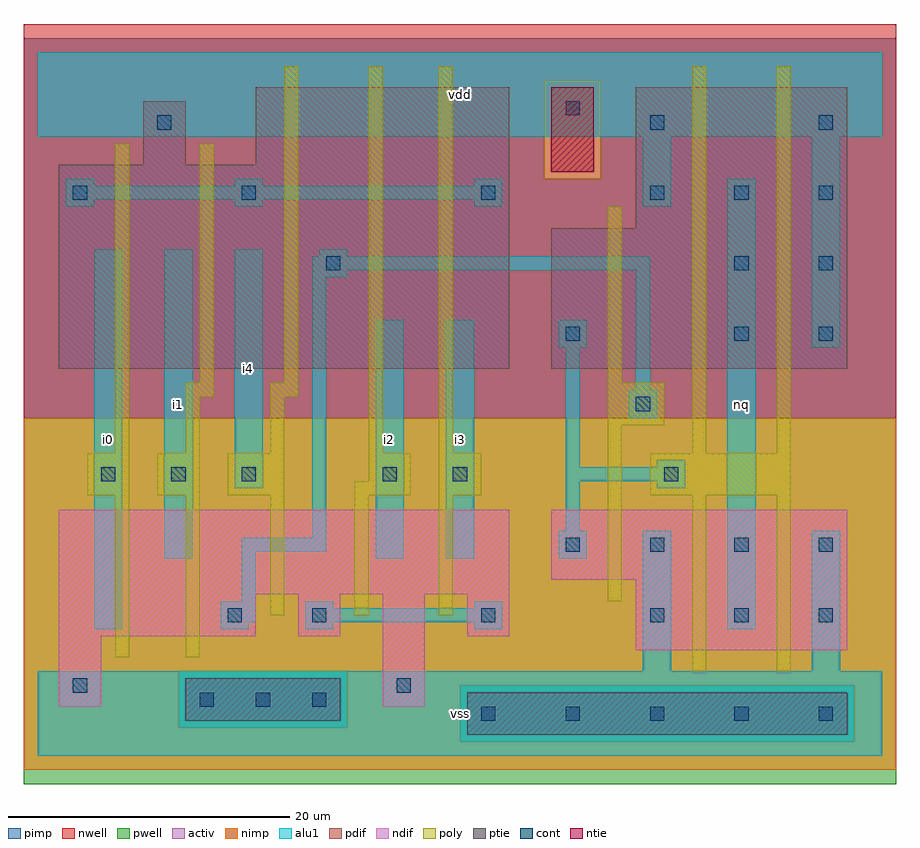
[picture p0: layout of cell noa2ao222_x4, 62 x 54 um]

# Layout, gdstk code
import gdstk
lib = gdstk.Library(unit=1e-6, precision=1e-09)
def R(c, l, rs):  # rectangles x0, y0, x1, y1
    for r in rs: c.add(gdstk.rectangle(r[:2], r[2:], *l))
def A(c, l, x, y, w, h, nx, ny, dx, dy):  # array of equal rectangles
    R(c, l, [(x+i*dx, y+j*dy, x+i*dx+w, y+j*dy+h) for i in range(nx) for j in range(ny)])
ndif = (3, 0)
pdif = (4, 0)
ntie = (5, 0)
ptie = (6, 0)
cont = (25, 0)
pwell = (41, 0)
nwell = (42, 0)
activ = (43, 0)
pimp = (44, 0)
nimp = (45, 0)
poly = (46, 0)
alu1 = (49, 0)

noa2ao222_x4 = lib.new_cell('noa2ao222_x4')
R(noa2ao222_x4, ndif, [(1.5,3.5,4.5,8.5), (24.5,3.5,27.5,11.5), (42.5,7.5,57.5,12.5), (1.5,8.5,15.5,11.5), (18.5,8.5,21.5,11.5), (30.5,8.5,33.5,11.5), (1.5,11.5,33.5,17.5), (36.5,12.5,57.5,17.5)])
R(noa2ao222_x4, pdif, [(1.5,27.5,33.5,42), (36.5,27.5,57.5,37.5), (42.5,37.5,57.5,47.5), (7.5,42,10.5,46.5), (15.5,42,33.5,47.5)])
R(noa2ao222_x4, ntie, [(36.5,41.5,39.5,47.5)])
R(noa2ao222_x4, ptie, [(30.5,1.5,57.5,4.5), (10.5,2.5,21.5,5.5)])
A(noa2ao222_x4, cont, 31.5, 2.5, 1, 1, 5, 1, 6, 0)
A(noa2ao222_x4, cont, 11.5, 3.5, 1, 1, 3, 1, 4, 0)
A(noa2ao222_x4, cont, 19.5, 9.5, 1, 1, 3, 1, 12, 0)
A(noa2ao222_x4, cont, 37.5, 14.5, 1, 1, 4, 1, 6, 0)
A(noa2ao222_x4, cont, 4.5, 19.5, 1, 1, 3, 1, 5, 0)
A(noa2ao222_x4, cont, 43.5, 39.5, 1, 1, 3, 1, 6, 0)
R(noa2ao222_x4, cont, [(2.5,4.5,3.5,5.5), (25.5,4.5,26.5,5.5), (13.5,9.5,14.5,10.5), (49.5,9.5,50.5,10.5), (55.5,9.5,56.5,10.5), (24.5,19.5,25.5,20.5), (29.5,19.5,30.5,20.5), (44.5,19.5,45.5,20.5), (42.5,24.5,43.5,25.5), (37.5,29.5,38.5,30.5), (49.5,29.5,50.5,30.5), (55.5,29.5,56.5,30.5), (20.5,34.5,21.5,35.5), (49.5,34.5,50.5,35.5), (55.5,34.5,56.5,35.5), (2.5,39.5,3.5,40.5), (14.5,39.5,15.5,40.5), (31.5,39.5,32.5,40.5), (8.5,44.5,9.5,45.5), (43.5,44.5,44.5,45.5), (55.5,44.5,56.5,45.5), (37.5,45.5,38.5,46.5)])
R(noa2ao222_x4, pwell, [(-1,-2,61,24)])
R(noa2ao222_x4, nwell, [(-1,24,61,52)])
R(noa2ao222_x4, activ, [(30.5,1.5,57.5,4.5), (10.5,2.5,21.5,5.5), (1.5,3.5,4.5,8.5), (24.5,3.5,27.5,11.5), (42.5,7.5,57.5,12.5), (1.5,8.5,15.5,11.5), (18.5,8.5,21.5,11.5), (30.5,8.5,33.5,11.5), (1.5,11.5,33.5,17.5), (36.5,12.5,57.5,17.5), (1.5,27.5,33.5,42), (36.5,27.5,57.5,37.5), (42.5,37.5,57.5,47.5), (36.5,41.5,39.5,47.5), (7.5,42,10.5,46.5), (15.5,42,33.5,47.5)])
R(noa2ao222_x4, pimp, [(30,1,58,5), (10,2,22,6), (-1,24,61,41), (-1,41,36,48), (40,41,61,48), (-1,48,61,51)])
R(noa2ao222_x4, nimp, [(-1,-1,61,1), (-1,1,30,2), (58,1,61,5), (-1,2,10,6), (22,2,30,5), (22,5,61,6), (-1,6,61,24), (36,41,40,48)])
A(noa2ao222_x4, poly, 16.5, 10, 1, 8.5, 3, 1, 6, 0)
R(noa2ao222_x4, poly, [(46.5,6,47.5,18.5), (52.5,6,53.5,18.5), (5.5,7,6.5,18.5), (10.5,7,11.5,18.5), (40.5,11,41.5,23.5), (3.5,18.5,6.5,21.5), (8.5,18.5,11.5,21.5), (13.5,18.5,17.5,21.5), (22.5,18.5,26.5,19.5), (28.5,18.5,31.5,21.5), (43.5,18.5,53.5,21.5), (23.5,19.5,26.5,21.5), (5.5,21.5,6.5,43.5), (10.5,21.5,11.5,25.5), (16.5,21.5,17.5,25.5), (23.5,21.5,24.5,49), (28.5,21.5,29.5,49), (46.5,21.5,47.5,49), (52.5,21.5,53.5,49), (40.5,23.5,44.5,26.5), (10.5,25.5,12.5,26.5), (16.5,25.5,18.5,26.5), (11.5,26.5,12.5,43.5), (17.5,26.5,18.5,49), (40.5,26.5,41.5,39)])
R(noa2ao222_x4, alu1, [(0,0,60,6), (43,6,45,16), (55,6,57,16), (4,9,6,36), (13,9,15,9.5), (19,9,21,9.5), (31,9,33,9.5), (49,9,51,41), (13,9.5,15.5,11), (19,9.5,33,10.5), (19,10.5,21,11), (31,10.5,33,11), (14.5,11,15.5,14.5), (9,14,11,36), (24,14,26,31), (29,14,31,31), (37,14,39,16), (14.5,14.5,20.5,15.5), (19.5,15.5,20.5,34), (37.5,16,38.5,19.5), (14,19,16,36), (44,19,46,19.5), (37.5,19.5,46,20.5), (37.5,20.5,38.5,29), (44,20.5,46,21), (42,24,44,26), (42.5,26,43.5,34.5), (37,29,39,31), (55,29,57,44), (19.5,34,22,34.5), (19.5,34.5,43.5,35.5), (20,35.5,22,36), (2,39,4,39.5), (14,39,16,39.5), (31,39,33,39.5), (43,39,45,44), (2,39.5,33,40.5), (2,40.5,4,41), (14,40.5,16,41), (31,40.5,33,41), (0,44,60,50)])
noa2ao222_x4.add(gdstk.Label('i0', (5,22.5), layer=49, texttype=0))
noa2ao222_x4.add(gdstk.Label('i1', (10,25), layer=49, texttype=0))
noa2ao222_x4.add(gdstk.Label('i4', (15,27.5), layer=49, texttype=0))
noa2ao222_x4.add(gdstk.Label('vss', (30,3), layer=49, texttype=0))
noa2ao222_x4.add(gdstk.Label('i3', (30,22.5), layer=49, texttype=0))
noa2ao222_x4.add(gdstk.Label('i2', (25,22.5), layer=49, texttype=0))
noa2ao222_x4.add(gdstk.Label('vdd', (30,47), layer=49, texttype=0))
noa2ao222_x4.add(gdstk.Label('nq', (50,25), layer=49, texttype=0))

lib.write_gds('noa2ao222_x4.gds')
